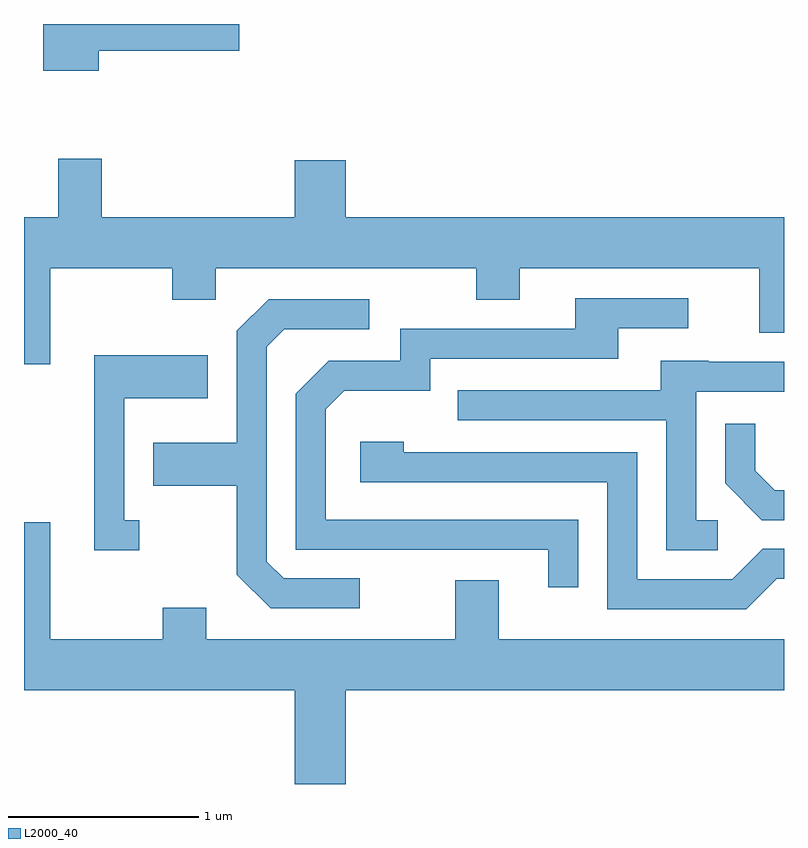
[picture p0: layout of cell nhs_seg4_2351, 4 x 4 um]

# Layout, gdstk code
import gdstk
lib = gdstk.Library(unit=1e-6, precision=1e-09)
def P(c, l, *ps):  # polygons
    for p in ps: c.add(gdstk.Polygon(p, *l))
L2000_40 = (2000, 40)

nhs_seg4_2351 = lib.new_cell('nhs_seg4_2351')
P(nhs_seg4_2351, L2000_40, [(254.004,1335.841),(254.744,1335.841),(254.744,1335.982),(253.711,1335.982),(253.711,1335.736),(254.004,1335.736)],
  [(253.611,1334.191),(253.749,1334.191),(253.749,1334.696),(254.391,1334.696),(254.391,1334.531),(254.619,1334.531),(254.619,1334.696),(255.991,1334.696),(255.991,1334.531),(256.219,1334.531),(256.219,1334.696),(257.481,1334.696),(257.481,1334.356),(257.611,1334.356),(257.611,1334.964),(255.304,1334.964),(255.304,1335.264),(255.036,1335.264),(255.036,1334.964),(254.019,1334.964),(254.019,1335.274),(253.791,1335.274),(253.791,1334.964),(253.611,1334.964)],
  [(256.529,1333.374),(255.199,1333.374),(255.199,1333.954),(255.297,1334.051),(255.749,1334.051),(255.749,1334.221),(256.739,1334.221),(256.739,1334.381),(257.108,1334.381),(257.108,1334.539),(256.511,1334.539),(256.511,1334.379),(255.591,1334.379),(255.591,1334.209),(255.214,1334.209),(255.041,1334.037),(255.041,1333.216),(256.371,1333.216),(256.371,1333.018),(256.529,1333.018)],
  [(255.378,1333.064),(254.977,1333.064),(254.889,1333.152),(254.889,1334.284),(254.982,1334.376),(255.428,1334.376),(255.428,1334.534),(254.899,1334.534),(254.731,1334.367),(254.731,1333.779),(254.291,1333.779),(254.291,1333.551),(254.731,1333.551),(254.731,1333.084),(254.909,1332.906),(255.378,1332.906)],
  [(254.218,1333.369),(254.139,1333.369),(254.139,1334.011),(254.579,1334.011),(254.579,1334.239),(253.981,1334.239),(253.981,1333.211),(254.218,1333.211)],
  [(257.263,1333.369),(257.149,1333.369),(257.149,1334.046),(257.611,1334.046),(257.611,1334.204),(257.215,1334.204),(257.215,1334.209),(256.961,1334.209),(256.961,1334.054),(255.893,1334.054),(255.893,1333.896),(256.991,1333.896),(256.991,1333.211),(257.263,1333.211)],
  [(257.611,1333.529),(257.562,1333.529),(257.459,1333.632),(257.459,1333.878),(257.301,1333.878),(257.301,1333.564),(257.493,1333.371),(257.611,1333.371)],
  [(257.572,1333.061),(257.611,1333.061),(257.611,1333.219),(257.498,1333.219),(257.339,1333.059),(256.839,1333.059),(256.839,1333.729),(255.609,1333.729),(255.609,1333.784),(255.381,1333.784),(255.381,1333.571),(256.681,1333.571),(256.681,1332.901),(257.412,1332.901)],
  [(255.304,1332.476),(257.611,1332.476),(257.611,1332.744),(256.109,1332.744),(256.109,1333.054),(255.881,1333.054),(255.881,1332.744),(254.569,1332.744),(254.569,1332.909),(254.341,1332.909),(254.341,1332.744),(253.749,1332.744),(253.749,1333.359),(253.611,1333.359),(253.611,1332.476),(255.036,1332.476),(255.036,1331.982),(255.304,1331.982)])

lib.write_gds('nhs_seg4_2351.gds')
